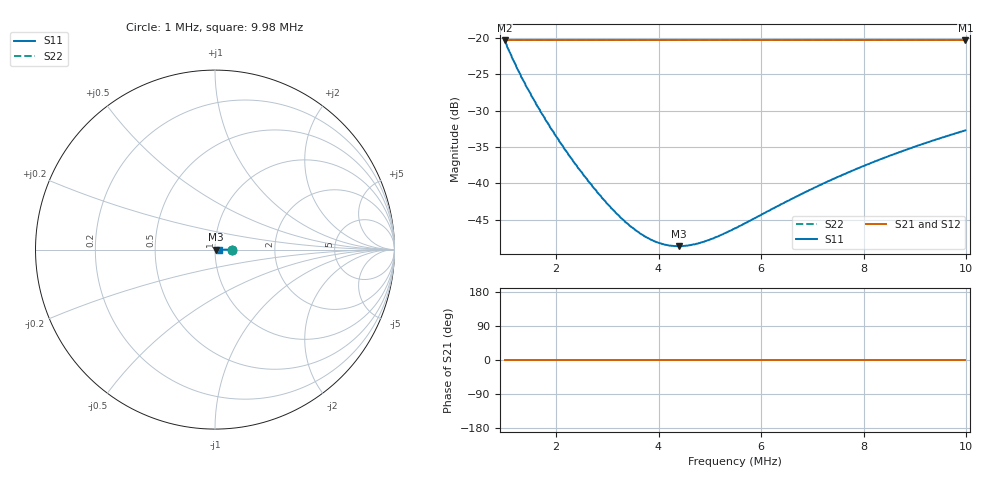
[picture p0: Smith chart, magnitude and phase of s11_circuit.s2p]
#	mhz	s	ma	r	50
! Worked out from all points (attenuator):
!   499 points, 1 MHz to 9.98 MHz, reference 50 ohm
!   highest |S21| = -20.34 dB at 9.98 MHz (marker M1); lowest = -20.3 dB at 1 MHz (marker M2)
!   lowest |S11| = -48.6 dB at 4.39 MHz (marker M3), VSWR 1.01, Z = 50.4 + j8.02e-07 ohm
!   |S11| at or under -10 dB: start of sweep to end of sweep
!   |S22| runs from -20.3 to -20.3 dB; largest |S21 - S12| = 0
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1  0.09616 -0.3  0.09616 -0.3  0.09616 -0.3  0.09616 -0.3
1.04  0.08975 -0.3  0.09616 -0.3  0.09616 -0.3  0.09616 -0.3
1.05  0.08676 -0.3  0.09616 -0.3  0.09616 -0.3  0.09616 -0.3
1.13  0.07604 -0.3  0.09616 -0.3  0.09616 -0.3  0.09616 -0.3
1.14  0.07364 -0.3  0.09616 -0.3  0.09616 -0.3  0.09616 -0.3
1.32  0.05436 -0.2  0.09616 -0.3  0.09616 -0.3  0.09616 -0.3
1.7  0.03111 -0.2  0.09617 -0.3  0.09617 -0.3  0.09617 -0.3
2.15  0.01757 -0.1  0.09617 -0.3  0.09617 -0.3  0.09617 -0.3
2.5  0.01194 -0.1  0.09617 -0.3  0.09617 -0.3  0.09617 -0.3
2.89  0.008001 -0.1  0.09617 -0.3  0.09617 -0.3  0.09617 -0.3
3.34  0.005472 -0.0  0.09618 -0.3  0.09618 -0.3  0.09618 -0.3
3.72  0.004337 -0.0  0.09618 -0.3  0.09618 -0.3  0.09618 -0.3
4.01  0.003886 -0.0  0.09618 -0.3  0.09618 -0.3  0.09618 -0.3
4.17  0.003756 -0.0  0.09618 -0.3  0.09618 -0.3  0.09618 -0.3
4.39  0.003697 0.0  0.09618 -0.3  0.09618 -0.3  0.09618 -0.3
4.63  0.003763 0.0  0.09618 -0.3  0.09618 -0.3  0.09618 -0.3
4.9  0.003982 0.0  0.09618 -0.3  0.09618 -0.3  0.09618 -0.3
5.49  0.004903 0.0  0.09619 -0.3  0.09619 -0.3  0.09619 -0.3
6.99  0.009153 0.1  0.0962 -0.3  0.0962 -0.3  0.0962 -0.3
7.76  0.01217 0.1  0.0962 -0.3  0.0962 -0.3  0.0962 -0.3
8.5  0.01547 0.1  0.0962 -0.3  0.0962 -0.3  0.0962 -0.3
9.98  0.02316 0.1  0.09621 -0.3  0.09621 -0.3  0.09621 -0.3
